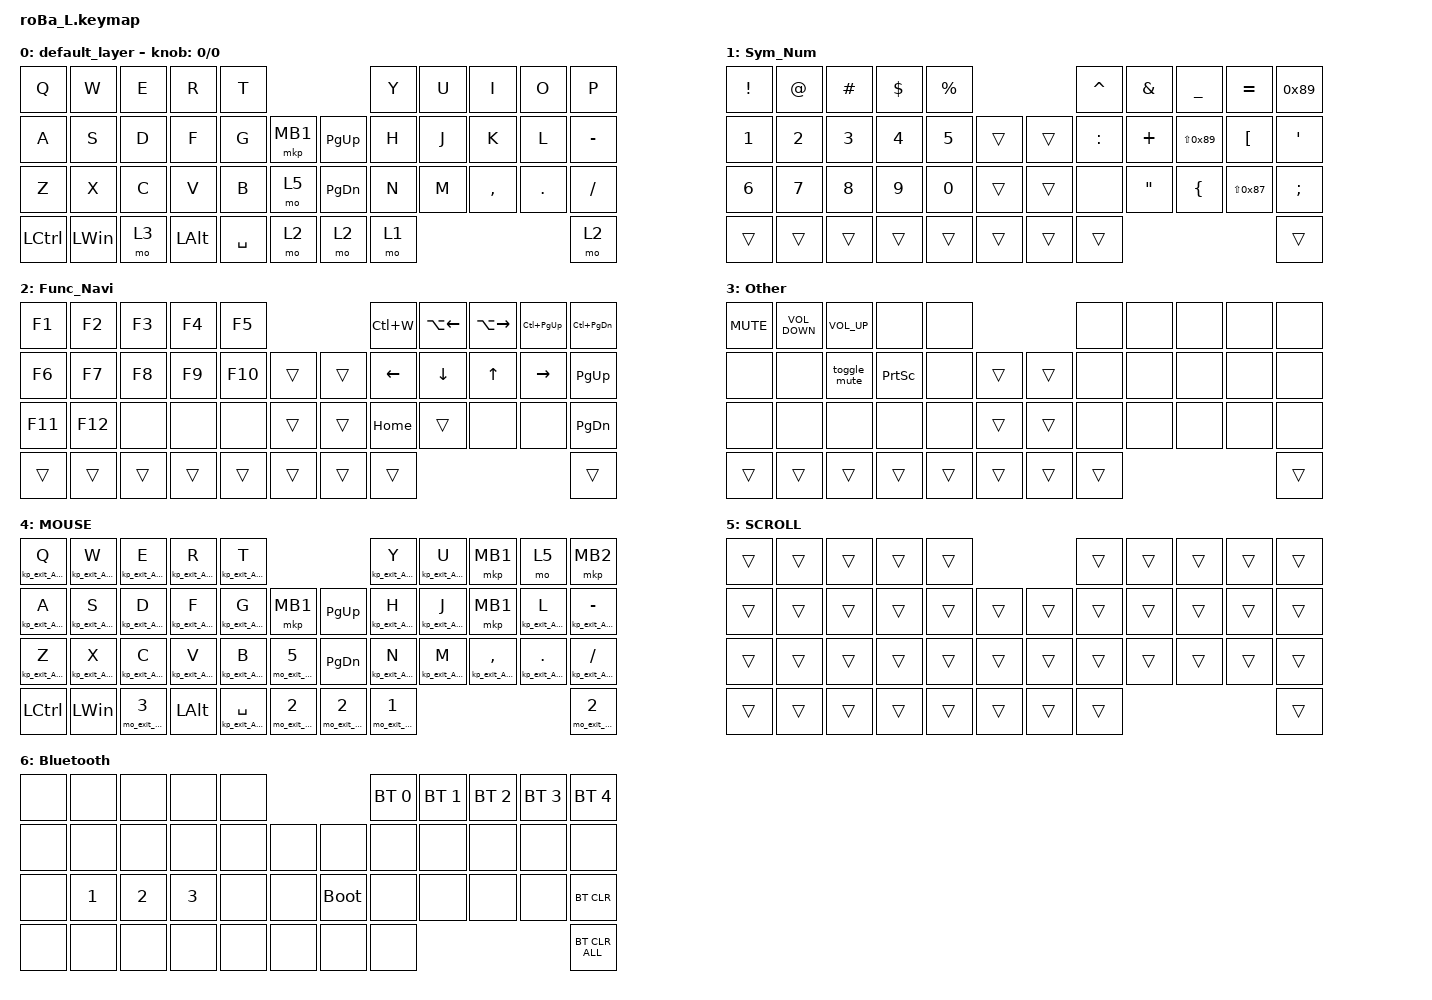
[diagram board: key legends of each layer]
#include <behaviors.dtsi>
#include <dt-bindings/zmk/bt.h>
#include <dt-bindings/zmk/keys.h>
#include <dt-bindings/zmk/pointing.h>

#define MOUSE 4
#define SCROLL 5
#define NUM 6

&sk {
    release-after-ms = <1000>;
    quick-release;
};

/ {
    combos {
        compatible = "zmk,combos";

        as_as_shift {
            bindings = <&kp LEFT_SHIFT>;
            key-positions = <10 11>;
        };

        qw_as_esc_lang2 {
            bindings = <&esc_lang2>;
            key-positions = <0 1>;
        };

        op_as_bs {
            bindings = <&kp BACKSPACE>;
            key-positions = <8 9>;
            timeout-ms = <40>;
        };

        pl_as_del {
            bindings = <&kp DELETE>;
            key-positions = <9 20>;
        };

        lmin_as_shift {
            bindings = <&kp LEFT_SHIFT>;
            key-positions = <20 21>;
        };

        uo_as_lbrac {
            bindings = <&kp_exit_AML RIGHT_BRACKET>;
            key-positions = <6 8>;
            timeout-ms = <20>;
        };

        ip_as_rbrac {
            bindings = <&kp_exit_AML BACKSLASH>;
            key-positions = <7 9>;
            timeout-ms = <20>;
        };

        jl_as_lparen {
            bindings = <&kp_exit_AML ASTERISK>;
            key-positions = <18 20>;
        };

        kmin_as_rparen {
            bindings = <&kp_exit_AML LEFT_PARENTHESIS>;
            key-positions = <19 21>;
        };

        mdot_as_lbrace {
            bindings = <&kp_exit_AML RIGHT_BRACE>;
            key-positions = <30 32>;
        };

        comslash_as_rbrace {
            bindings = <&kp_exit_AML PIPE>;
            key-positions = <31 33>;
        };

        up_as_brackets {
            bindings = <&brackets>;
            key-positions = <6 9>;
            timeout-ms = <20>;
        };

        jmin_as_parentheses {
            bindings = <&parentheses >;
            key-positions = <18 21>;
        };

        df_as_muhenkan {
            bindings = <&muhenkan_exit_AML>;
            key-positions = <13 12>;
        };

        jk_as_henkan {
            bindings = <&henkan_exit_AML>;
            key-positions = <19 18>;
        };

        sd_as_tab {
            bindings = <&kp TAB>;
            key-positions = <11 12>;
        };

        kl_as_enter {
            bindings = <&kp ENTER>;
            key-positions = <20 19>;
        };

        qwe_as_alt_f4 {
            bindings = <&kp LA(F4)>;
            key-positions = <0 2 1>;
        };

        we_as_capsword {
            bindings = <&caps_word>;
            key-positions = <1 2>;
            timeout-ms = <20>;
        };

        io_as_capsword {
            bindings = <&caps_word>;
            key-positions = <7 8>;
            timeout-ms = <20>;
        };

        qwb_as_mo6 {
            bindings = <&mo 6>;
            key-positions = <0 1 26>;
        };

        yunm_as_bootloader {
            bindings = <&bootloader>;
            key-positions = <5 6 29 30>;
        };

        l_center_combo_as_mb2 {
            bindings = <&mkp MB2>;
            key-positions = <15 27>;
        };

        l_ctrl_shift_combo {
            bindings = <&kp LC(LEFT_SHIFT)>;
            key-positions = <34 10 11>;
        };

        kdot_as_sk_shift {
            bindings = <&sk LEFT_SHIFT>;
            key-positions = <19 32>;
        };

        xd_as_sk_shift {
            bindings = <&sk LEFT_SHIFT>;
            key-positions = <12 23>;
        };

        space_enter {
            bindings = <&kp ENTER>;
            key-positions = <38 19 20>;
        };
    };

    macros {
        parentheses: parentheses {
            compatible = "zmk,behavior-macro";
            #binding-cells = <0>;
            bindings = <&kp ASTRK &kp LEFT_PARENTHESIS &kp_exit_AML LEFT>;
            label = "PARENTHESES";
        };

        brackets: brackets {
            compatible = "zmk,behavior-macro";
            #binding-cells = <0>;
            bindings = <&kp RIGHT_BRACKET &kp BACKSLASH &kp_exit_AML LEFT>;
            label = "BRACKETS";
        };

        esc_lang2: esc_lang2 {
            compatible = "zmk,behavior-macro";
            #binding-cells = <0>;
            bindings = <&kp ESCAPE &kp LANGUAGE_2>;
            label = "ESC_LANG2";
        };

        space_enter: space_enter {
            compatible = "zmk,behavior-macro";
            #binding-cells = <0>;
            bindings = <&kp SPACE &kp ENTER>;
            label = "SPACE_ENTER";
        };

        muhenkan_exit_AML: muhenkan_exit_AML {
            compatible = "zmk,behavior-macro";
            #binding-cells = <0>;
            bindings = <&kp_exit_AML LANGUAGE_2>;
            label = "MUHENKAN_EXIT_AML";
        };

        henkan_exit_AML: henkan_exit_AML {
            compatible = "zmk,behavior-macro";
            #binding-cells = <0>;
            bindings = <&kp_exit_AML LANGUAGE_1>;
            label = "HENKAN_EXIT_AML";
        };

        exit_AML: exit_AML {
            compatible = "zmk,behavior-macro";
            wait-ms = <0>;
            tap-ms = <0>;
            #binding-cells = <0>;
            bindings = <&tog_off MOUSE>;
            label = "exit_AML";
        };

        kp_exit_AML: kp_exit_AML {
            compatible = "zmk,behavior-macro-one-param";
            wait-ms = <0>;
            tap-ms = <0>;
            #binding-cells = <1>;
            bindings = <&macro_param_1to1 &kp MACRO_PLACEHOLDER &exit_AML>;
            label = "KP_exit_AML";
        };

        mod_exit_AML: mod_exit_AML {
            compatible = "zmk,behavior-macro-one-param";
            wait-ms = <0>;
            tap-ms = <0>;
            #binding-cells = <1>;
            bindings =
                <&macro_press>,
                <&macro_param_1to1 &kp MACRO_PLACEHOLDER>,
                <&macro_tap>,
                <&exit_AML>,
                <&macro_pause_for_release>,
                <&macro_release>,
                <&macro_param_1to1 &kp MACRO_PLACEHOLDER>;

            label = "MOD_exit_AML";
        };

        mo_exit_AML: mo_exit_AML {
            compatible = "zmk,behavior-macro-one-param";
            wait-ms = <0>;
            tap-ms = <0>;
            #binding-cells = <1>;
            bindings =
                <&macro_press>,
                <&macro_param_1to1 &mo MACRO_PLACEHOLDER>,
                <&macro_tap>,
                <&exit_AML>,
                <&macro_pause_for_release>,
                <&macro_release>,
                <&macro_param_1to1 &mo MACRO_PLACEHOLDER>,
                <&macro_tap>;

            label = "MO_exit_AML";
        };

        toggle_mute: toggle_mute {
            compatible = "zmk,behavior-macro";
            #binding-cells = <0>;
            bindings = <&kp LA(A) &kp LC(LS(M))>;
            label = "TOGGLE_MUTE";
            wait-ms = <75>;
            tap-ms = <75>;
        };
    };

    behaviors {
        tog_off: toggle_layer_off {
            compatible = "zmk,behavior-toggle-layer";
            #binding-cells = <1>;
            display-name = "Toggle Layer Off";
            toggle-mode = "off";
        };

        lt_exit_AML: lt_exit_AML {
            compatible = "zmk,behavior-hold-tap";
            label = "LT_exit_AML";
            bindings = <&mo_exit_AML>, <&kp_exit_AML>;

            #binding-cells = <2>;
            tapping-term-ms = <200>;
            quick-tap-ms = <200>;
            flavor = "balanced";
        };

        lt_exit_AML_on_hold: lt_exit_AML_on_hold {
            compatible = "zmk,behavior-hold-tap";
            label = "LT_exit_AML_ON_HOLD";
            bindings = <&mo_exit_AML>, <&kp>;

            #binding-cells = <2>;
            tapping-term-ms = <200>;
            quick-tap-ms = <200>;
            flavor = "balanced";
        };

        mt_exit_AML: mt_exit_AML {
            compatible = "zmk,behavior-hold-tap";
            label = "MT_exit_AML";
            bindings = <&mod_exit_AML>, <&kp_exit_AML>;

            #binding-cells = <2>;
            tapping-term-ms = <200>;
            flavor = "balanced";
            quick-tap-ms = <200>;
        };

        mt_exit_AML_on_tap: mt_exit_AML_on_tap {
            compatible = "zmk,behavior-hold-tap";
            label = "MT_exit_AML_ON_TAP";
            bindings = <&kp>, <&kp_exit_AML>;

            #binding-cells = <2>;
            tapping-term-ms = <200>;
            flavor = "balanced";
            quick-tap-ms = <200>;
        };
    };

    keymap {
        compatible = "zmk,keymap";

        default_layer {
            bindings = <
&kp Q      &kp W         &kp E  &kp R         &kp T                                   &kp Y  &kp U  &kp I      &kp O    &kp P
&kp A      &kp S         &kp D  &kp F         &kp G      &mkp MB1      &kp PAGE_UP    &kp H  &kp J  &kp K      &kp L    &kp MINUS
&kp Z      &kp X         &kp C  &kp V         &kp B      &mo 5         &kp PAGE_DOWN  &kp N  &kp M  &kp COMMA  &kp DOT  &kp SLASH
&kp LCTRL  &kp LEFT_WIN  &mo 3  &kp LEFT_ALT  &kp SPACE  &mo 2         &mo 2          &mo 1                             &mo 2
            >;

            sensor-bindings = <&inc_dec_kp 0 0>;
        };

        Sym_Num {
            bindings = <
&kp EXCLAMATION  &kp AT        &kp HASH      &kp DOLLAR    &kp PERCENT                       &kp CARET  &kp AMPERSAND      &kp UNDER       &kp EQUAL         &kp 0x89
&kp NUMBER_1     &kp NUMBER_2  &kp NUMBER_3  &kp NUMBER_4  &kp NUMBER_5  &trans      &trans  &kp COLON  &kp PLUS           &kp LS(0x89)    &kp LEFT_BRACKET  &kp SINGLE_QUOTE
&kp NUMBER_6     &kp NUMBER_7  &kp NUMBER_8  &kp NUMBER_9  &kp NUMBER_0  &trans      &trans  &none      &kp DOUBLE_QUOTES  &kp LEFT_BRACE  &kp LS(0x87)      &kp SEMICOLON
&trans           &trans        &trans        &trans        &trans        &trans      &trans  &trans                                                          &trans
            >;
        };

        Func_Navi {
            bindings = <
&kp F1   &kp F2   &kp F3  &kp F4  &kp F5                       &kp LC(W)       &kp LA(LEFT)    &kp LA(RIGHT)  &kp LC(PAGE_UP)  &kp LC(PAGE_DOWN)
&kp F6   &kp F7   &kp F8  &kp F9  &kp F10  &trans      &trans  &kp LEFT_ARROW  &kp DOWN_ARROW  &kp UP_ARROW   &kp RIGHT_ARROW  &kp PAGE_UP
&kp F11  &kp F12  &none   &none   &none    &trans      &trans  &kp HOME        &trans          &none          &none            &kp PAGE_DOWN
&trans   &trans   &trans  &trans  &trans   &trans      &trans  &trans                                                          &trans
            >;
        };

        Other {
            bindings = <
&kp C_MUTE  &kp C_VOLUME_DOWN  &kp C_VOLUME_UP  &none            &none                       &none   &none  &none  &none  &none
&none       &none              &toggle_mute     &kp PRINTSCREEN  &none   &trans      &trans  &none   &none  &none  &none  &none
&none       &none              &none            &none            &none   &trans      &trans  &none   &none  &none  &none  &none
&trans      &trans             &trans           &trans           &trans  &trans      &trans  &trans                       &trans
            >;
        };

        MOUSE {
            bindings = <
&kp_exit_AML Q  &kp_exit_AML W  &kp_exit_AML E  &kp_exit_AML R  &kp_exit_AML T                                          &kp_exit_AML Y  &kp_exit_AML U  &mkp MB1            &mo 5             &mkp MB2
&kp_exit_AML A  &kp_exit_AML S  &kp_exit_AML D  &kp_exit_AML F  &kp_exit_AML G      &mkp MB1            &kp PAGE_UP     &kp_exit_AML H  &kp_exit_AML J  &mkp MB1            &kp_exit_AML L    &kp_exit_AML MINUS
&kp_exit_AML Z  &kp_exit_AML X  &kp_exit_AML C  &kp_exit_AML V  &kp_exit_AML B      &mo_exit_AML 5      &kp PAGE_DOWN   &kp_exit_AML N  &kp_exit_AML M  &kp_exit_AML COMMA  &kp_exit_AML DOT  &kp_exit_AML SLASH
&kp LCTRL       &kp LEFT_WIN    &mo_exit_AML 3  &kp LEFT_ALT    &kp_exit_AML SPACE  &mo_exit_AML 2      &mo_exit_AML 2  &mo_exit_AML 1                                                        &mo_exit_AML 2
            >;
        };

        SCROLL {
            bindings = <
&trans  &trans  &trans  &trans  &trans                      &trans  &trans  &trans  &trans  &trans
&trans  &trans  &trans  &trans  &trans  &trans      &trans  &trans  &trans  &trans  &trans  &trans
&trans  &trans  &trans  &trans  &trans  &trans      &trans  &trans  &trans  &trans  &trans  &trans
&trans  &trans  &trans  &trans  &trans  &trans      &trans  &trans                          &trans
            >;
        };

        Bluetooth {
            bindings = <
&none  &none         &none         &none         &none                          &bt BT_SEL 0  &bt BT_SEL 1  &bt BT_SEL 2  &bt BT_SEL 3  &bt BT_SEL 4
&none  &none         &none         &none         &none  &none      &none        &none         &none         &none         &none         &none
&none  &kp NUMBER_1  &kp NUMBER_2  &kp NUMBER_3  &none  &none      &bootloader  &none         &none         &none         &none         &bt BT_CLR
&none  &none         &none         &none         &none  &none      &none        &none                                                   &bt BT_CLR_ALL
            >;
        };
    };
};
